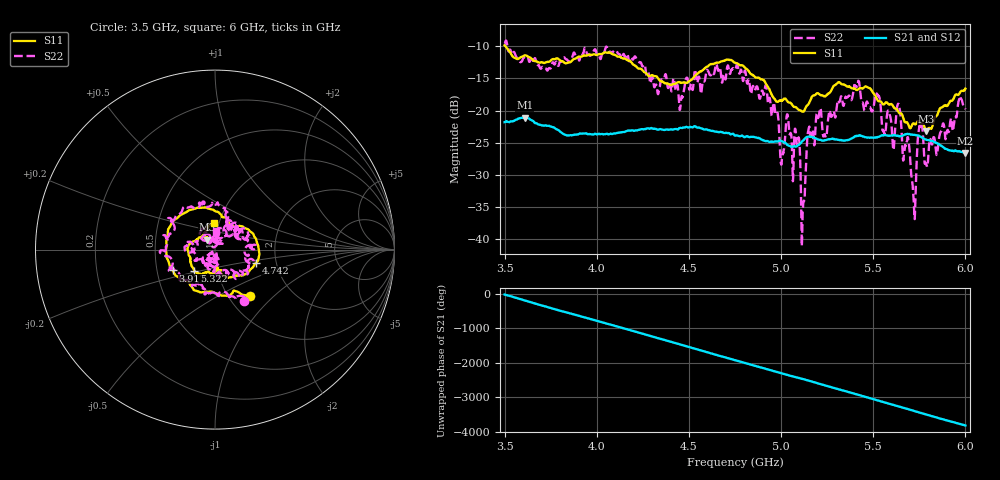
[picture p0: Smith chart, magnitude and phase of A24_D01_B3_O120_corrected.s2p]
! Created with skrf 1.9.0 (http://scikit-rf.org).
# Hz S RI R 50.0
!freq ReS11 ImS11 ReS21 ImS21 ReS12 ImS12 ReS22 ImS22
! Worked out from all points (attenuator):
!   1601 points, 3.5 GHz to 6 GHz, reference 50 ohm
!   highest |S21| = -21.10 dB at 3.609 GHz (marker M1); lowest = -26.6 dB at 6 GHz (marker M2)
!   lowest |S11| = -23.2 dB at 5.787 GHz (marker M3), VSWR 1.15, Z = 45.7 + j5.03 ohm
!   |S11| at or under -10 dB: 3.505 GHz to end of sweep
!   |S22| runs from -41.1 to -9.1 dB; largest |S21 - S12| = 0.0012
!   S11 on the Smith chart (normalised r, x): 3.5 GHz: 1.25, -0.72; 3.917 GHz: 0.60, -0.15; 4.742 GHz: 1.56, -0.25; 5.322 GHz: 0.78, -0.19; 6 GHz: 0.94, +0.29
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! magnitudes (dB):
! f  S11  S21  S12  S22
! 3.5 GHz  -9.8  -21.8  -21.8  -9.6
! 3.609 GHz  -11.4  -21.1  -21.1  -11.8
! 3.917 GHz  -11.6  -23.6  -23.6  -11.1
! 4.334 GHz  -15.1  -23.0  -22.9  -17.3
! 4.742 GHz  -12.4  -23.7  -23.7  -13.5
! 4.75 GHz  -12.6  -23.9  -23.8  -13.6
! 4.925 GHz  -16.2  -24.7  -24.7  -17.7
! 5.005 GHz  -18.4  -24.8  -24.8  -27.5
! 5.034 GHz  -18.6  -25.4  -25.3  -20.6
! 5.086 GHz  -19.6  -25.6  -25.5  -25.3
! 5.119 GHz  -20.2  -24.7  -24.6  -35.0
! 5.147 GHz  -19.1  -24.1  -24.1  -23.3
! 5.167 GHz  -17.9  -24.1  -24.1  -23.2
! 5.322 GHz  -15.7  -24.6  -24.6  -18.2
! 5.414 GHz  -16.8  -24.0  -24.0  -15.9
! 5.584 GHz  -19.0  -23.9  -23.9  -20.1
! 5.609 GHz  -19.4  -23.8  -23.8  -26.1
! 5.639 GHz  -20.3  -24.0  -24.0  -19.1
! 5.719 GHz  -22.0  -23.8  -23.7  -33.7
! 5.755 GHz  -22.0  -24.1  -24.0  -22.3
! 5.787 GHz  -23.2  -24.6  -24.5  -28.3
! 6 GHz  -16.6  -26.6  -26.6  -19.8
